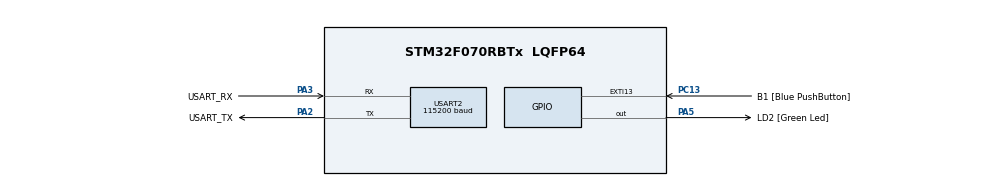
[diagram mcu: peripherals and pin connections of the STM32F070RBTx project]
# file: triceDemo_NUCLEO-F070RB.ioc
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Mcu.Family=STM32F0
Mcu.Name=STM32F070RBTx
Mcu.Package=LQFP64
NVIC.USART2_IRQn=true\:0\:0\:false\:false\:true\:true\:true
PA13.GPIO_Label=TMS
PA13.Mode=Serial_Wire
PA13.Signal=SYS_SWDIO
PA14.GPIO_Label=TCK
PA14.Mode=Serial_Wire
PA14.Signal=SYS_SWCLK
PA2.GPIO_Label=USART_TX
PA2.Mode=Asynchronous
PA2.Signal=USART2_TX
PA3.GPIO_Label=USART_RX
PA3.Mode=Asynchronous
PA3.Signal=USART2_RX
PA5.GPIO_Label=LD2 [Green Led]
PA5.Signal=GPIO_Output
PC13.GPIO_Label=B1 [Blue PushButton]
PC13.GPIO_ModeDefaultEXTI=GPIO_MODE_IT_FALLING
PC13.Signal=GPXTI13
PC14-OSC32_IN.GPIO_Label=RCC_OSC32_IN
PC14-OSC32_IN.Mode=LSE-External-Oscillator
PC14-OSC32_IN.Signal=RCC_OSC32_IN
PC15-OSC32_OUT.GPIO_Label=RCC_OSC32_OUT
PC15-OSC32_OUT.Mode=LSE-External-Oscillator
PC15-OSC32_OUT.Signal=RCC_OSC32_OUT
PF0-OSC_IN.GPIO_Label=RCC_OSC_IN
PF0-OSC_IN.Mode=HSE-External-Clock-Source
PF0-OSC_IN.Signal=RCC_OSC_IN
PF1-OSC_OUT.GPIO_Label=RCC_OSC_OUT
PF1-OSC_OUT.Signal=RCC_OSC_OUT
ProjectManager.HeapSize=0x200
ProjectManager.StackSize=0x400
ProjectManager.TargetToolchain=MDK-ARM V5.27
RCC.AHBFreq_Value=48000000
RCC.APB1Freq_Value=48000000
RCC.APB1TimFreq_Value=48000000
RCC.HCLKFreq_Value=48000000
RCC.PLLMUL=RCC_PLL_MUL6
RCC.SYSCLKFreq_VALUE=48000000
RCC.SYSCLKSource=RCC_SYSCLKSOURCE_PLLCLK
USART2.BaudRate=115200
USART2.VirtualMode-Asynchronous=VM_ASYNC
board=NUCLEO-F070RB

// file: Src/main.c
/* USER CODE BEGIN Header */
/**
  ******************************************************************************
  * @file           : main.c
  * @brief          : Main program body
  ******************************************************************************
  * @attention
  *
  * <h2><center>&copy; Copyright (c) 2020 STMicroelectronics.
  * All rights reserved.</center></h2>
  *
  * This software component is licensed by ST under BSD 3-Clause license,
  * the "License"; You may not use this file except in compliance with the
  * License. You may obtain a copy of the License at:
  *                        opensource.org/licenses/BSD-3-Clause
  *
  ******************************************************************************
  */
/* USER CODE END Header */

#include "main.h"

/* USER CODE BEGIN Includes */
#include "trice.h"
#include "triceCheck.h"

/* USER CODE END Includes */

void SystemClock_Config(void);
static void MX_GPIO_Init(void);
static void MX_USART2_UART_Init(void);

int main(void)
{
  /* USER CODE BEGIN 1 */
#ifdef ENCRYPT
    InitXteaTable();
#endif
  /* USER CODE END 1 */

  /* MCU Configuration--------------------------------------------------------*/

  /* Reset of all peripherals, Initializes the Flash interface and the Systick. */

  LL_APB1_GRP2_EnableClock(LL_APB1_GRP2_PERIPH_SYSCFG);
  LL_APB1_GRP1_EnableClock(LL_APB1_GRP1_PERIPH_PWR);

  /* System interrupt init*/

  /* Configure the system clock */
  SystemClock_Config();

  /* USER CODE BEGIN SysInit */
    SysTick->CTRL |= SysTick_CTRL_TICKINT_Msk; // enable SysTick interrupt
  /* USER CODE END SysInit */

  /* Initialize all configured peripherals */
  MX_GPIO_Init();
  MX_USART2_UART_Init();
  /* USER CODE BEGIN 2 */
    LL_USART_EnableIT_RXNE(USART2); // enable UART2 interrupt
  /* USER CODE END 2 */

  /* Infinite loop */
  /* USER CODE BEGIN WHILE */
    TRICE16_1( Id(5),  "sig:Hello from MCU! SysTickVal now %d\n", SYSTICKVAL16 );
    while (1)
    {
        static int32_t loopCount = 0u;
        #define LOOPCOUNT 1000000u // resonable for 48 MHz MCU
        loopCount++;
        if( (LOOPCOUNT>>1) == loopCount ){
            extern uint16_t writeCountMax;
            static int i = 0;
            TRICE32_1( Id(52309), "sig:Loops %d\n\n\n", i );
            TRICE16_2( Id(16590), "att:writCountMax: %d (from%d)\n", writeCountMax, TRICE_WRITE_BUFFER_SIZE );
            TRICE16_2( Id( 4875), "att:maxTrices = %d (from %d)\n", maxTrices, TRICE_FIFO_SIZE>>2 );

            i++;
            LL_GPIO_ResetOutputPin(LD2_GPIO_Port, LD2_Pin);
        }
        if( LOOPCOUNT == loopCount ){
          loopCount = 0;
          LL_GPIO_SetOutputPin(LD2_GPIO_Port, LD2_Pin);
          triceCheckSet();
        }
        #if TRICE_CODE
        #ifdef NO_INTERRUPTS
            TriceServeTransmission();
        #endif
        #endif
    /* USER CODE END WHILE */

  }
}

void SystemClock_Config(void)
{
  LL_FLASH_SetLatency(LL_FLASH_LATENCY_1);

  if(LL_FLASH_GetLatency() != LL_FLASH_LATENCY_1)
  {
  Error_Handler();
  }
  LL_RCC_HSI_Enable();

   /* Wait till HSI is ready */
  while(LL_RCC_HSI_IsReady() != 1)
  {

  }
  LL_RCC_HSI_SetCalibTrimming(16);
  LL_RCC_PLL_ConfigDomain_SYS(LL_RCC_PLLSOURCE_HSI, LL_RCC_PLL_MUL_6, LL_RCC_PREDIV_DIV_1);
  LL_RCC_PLL_Enable();

   /* Wait till PLL is ready */
  while(LL_RCC_PLL_IsReady() != 1)
  {

  }
  LL_RCC_SetAHBPrescaler(LL_RCC_SYSCLK_DIV_1);
  LL_RCC_SetAPB1Prescaler(LL_RCC_APB1_DIV_1);
  LL_RCC_SetSysClkSource(LL_RCC_SYS_CLKSOURCE_PLL);

   /* Wait till System clock is ready */
  while(LL_RCC_GetSysClkSource() != LL_RCC_SYS_CLKSOURCE_STATUS_PLL)
  {

  }
  LL_Init1msTick(48000000);
  LL_SYSTICK_SetClkSource(LL_SYSTICK_CLKSOURCE_HCLK);
  LL_SetSystemCoreClock(48000000);
}

static void MX_USART2_UART_Init(void)
{

  LL_USART_InitTypeDef USART_InitStruct = {0};

  LL_GPIO_InitTypeDef GPIO_InitStruct = {0};

  /* Peripheral clock enable */
  LL_APB1_GRP1_EnableClock(LL_APB1_GRP1_PERIPH_USART2);

  LL_AHB1_GRP1_EnableClock(LL_AHB1_GRP1_PERIPH_GPIOA);
  /**USART2 GPIO Configuration
  PA2   ------> USART2_TX
  PA3   ------> USART2_RX
  */
  GPIO_InitStruct.Pin = USART_TX_Pin;
  GPIO_InitStruct.Mode = LL_GPIO_MODE_ALTERNATE;
  GPIO_InitStruct.Speed = LL_GPIO_SPEED_FREQ_HIGH;
  GPIO_InitStruct.OutputType = LL_GPIO_OUTPUT_PUSHPULL;
  GPIO_InitStruct.Pull = LL_GPIO_PULL_NO;
  GPIO_InitStruct.Alternate = LL_GPIO_AF_1;
  LL_GPIO_Init(USART_TX_GPIO_Port, &GPIO_InitStruct);

  GPIO_InitStruct.Pin = USART_RX_Pin;
  GPIO_InitStruct.Mode = LL_GPIO_MODE_ALTERNATE;
  GPIO_InitStruct.Speed = LL_GPIO_SPEED_FREQ_HIGH;
  GPIO_InitStruct.OutputType = LL_GPIO_OUTPUT_PUSHPULL;
  GPIO_InitStruct.Pull = LL_GPIO_PULL_NO;
  GPIO_InitStruct.Alternate = LL_GPIO_AF_1;
  LL_GPIO_Init(USART_RX_GPIO_Port, &GPIO_InitStruct);

  /* USART2 interrupt Init */
  NVIC_SetPriority(USART2_IRQn, 0);
  NVIC_EnableIRQ(USART2_IRQn);

  USART_InitStruct.BaudRate = 115200;
  USART_InitStruct.DataWidth = LL_USART_DATAWIDTH_8B;
  USART_InitStruct.StopBits = LL_USART_STOPBITS_1;
  USART_InitStruct.Parity = LL_USART_PARITY_NONE;
  USART_InitStruct.TransferDirection = LL_USART_DIRECTION_TX_RX;
  USART_InitStruct.HardwareFlowControl = LL_USART_HWCONTROL_NONE;
  USART_InitStruct.OverSampling = LL_USART_OVERSAMPLING_16;
  LL_USART_Init(USART2, &USART_InitStruct);
  LL_USART_DisableIT_CTS(USART2);
  LL_USART_ConfigAsyncMode(USART2);
  LL_USART_Enable(USART2);

}

static void MX_GPIO_Init(void)
{
  LL_EXTI_InitTypeDef EXTI_InitStruct = {0};
  LL_GPIO_InitTypeDef GPIO_InitStruct = {0};

  /* GPIO Ports Clock Enable */
  LL_AHB1_GRP1_EnableClock(LL_AHB1_GRP1_PERIPH_GPIOC);
  LL_AHB1_GRP1_EnableClock(LL_AHB1_GRP1_PERIPH_GPIOF);
  LL_AHB1_GRP1_EnableClock(LL_AHB1_GRP1_PERIPH_GPIOA);

  /**/
  LL_GPIO_ResetOutputPin(LD2_GPIO_Port, LD2_Pin);

  /**/
  LL_SYSCFG_SetEXTISource(LL_SYSCFG_EXTI_PORTC, LL_SYSCFG_EXTI_LINE13);

  /**/
  LL_GPIO_SetPinPull(B1_GPIO_Port, B1_Pin, LL_GPIO_PULL_NO);

  /**/
  LL_GPIO_SetPinMode(B1_GPIO_Port, B1_Pin, LL_GPIO_MODE_INPUT);

  /**/
  EXTI_InitStruct.Line_0_31 = LL_EXTI_LINE_13;
  EXTI_InitStruct.LineCommand = ENABLE;
  EXTI_InitStruct.Mode = LL_EXTI_MODE_IT;
  EXTI_InitStruct.Trigger = LL_EXTI_TRIGGER_FALLING;
  LL_EXTI_Init(&EXTI_InitStruct);

  /**/
  GPIO_InitStruct.Pin = LD2_Pin;
  GPIO_InitStruct.Mode = LL_GPIO_MODE_OUTPUT;
  GPIO_InitStruct.Speed = LL_GPIO_SPEED_FREQ_LOW;
  GPIO_InitStruct.OutputType = LL_GPIO_OUTPUT_PUSHPULL;
  GPIO_InitStruct.Pull = LL_GPIO_PULL_NO;
  LL_GPIO_Init(LD2_GPIO_Port, &GPIO_InitStruct);

}

void Error_Handler(void)
{
}

/************************ (C) COPYRIGHT STMicroelectronics *****END OF FILE****/
